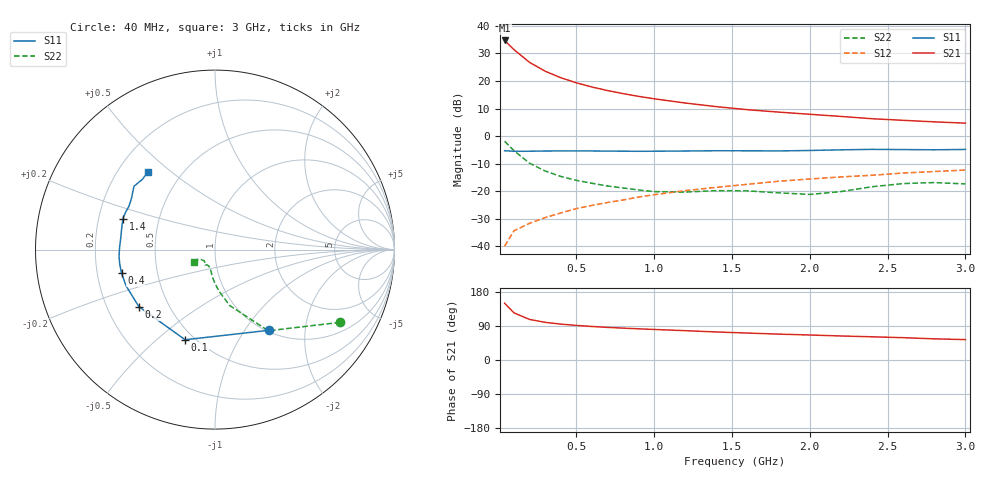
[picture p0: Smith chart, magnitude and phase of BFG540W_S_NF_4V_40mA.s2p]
! Filename:  BFG540WE.S2P  Version:  4.0
! Philips part #: BFG540  Date: Jun 1994
! Bias condition: Vce=4.0V, Ic=40.0mA
! IN LINE PINNING: same data as with cross emitter pinning.
#  MHz  S  MA  R  50
! Freq  S11  S21  S12  S22  !GUM [dB]
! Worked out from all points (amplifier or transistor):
!   21 points, 40 MHz to 3 GHz, reference 50 ohm
!   highest |S21| = 34.7 dB at 40 MHz (marker M1)
!   |S21| within 3 dB of that: start of sweep to 94.05 MHz
!   unconditionally stable (mu >= 1): 587.3 MHz to end of sweep
!   at 300 MHz: K = 0.83, MSG = 26.6 dB, |S12| = -29.6 dB
!   at 1 GHz: K = 1.08, MAG = 15.7 dB, |S12| = -21.3 dB
!   at 3 GHz: K = 1.06, MAG = 7.0 dB, |S12| = -12.4 dB
!   lowest NFmin = 1.90 dB at 900 MHz
!   S11 on the Smith chart (normalised r, x): 40 MHz: 1.02, -1.30; 100 MHz: 0.45, -0.62; 200 MHz: 0.34, -0.30; 400 MHz: 0.31, -0.11; 1.4 GHz: 0.30, +0.15; 3 GHz: 0.32, +0.41
40  0.541 -56.2  54.48 149.7  0.01 69.5  0.806 -30.2
100  0.529 -108.3  37.13 124.4  0.019 56.9  0.541 -56.7
200  0.53 -143.1  21.81 107.1  0.026 56.5  0.322 -75.3
300  0.535 -157.7  15.09 99.4  0.033 60.0  0.232 -84.6
400  0.537 -165.8  11.49 94.7  0.04 64.0  0.185 -90.5
500  0.537 -171.3  9.28 91.3  0.048 66.6  0.157 -94.6
600  0.536 -175.7  7.792 88.5  0.055 68.8  0.139 -97.6
700  0.533 -179.4  6.715 86.1  0.062 70.3  0.124 -100.1
800  0.531 177.4  5.903 84.1  0.069 71.5  0.114 -102.9
900  0.529 174.2  5.263 82.3  0.078 72.2  0.105 -106.3
1000  0.53 170.9  4.754 80.6  0.086 72.7  0.098 -110.3
1200  0.535 165.7  3.98 77.4  0.102 73.3  0.096 -118.5
1400  0.541 161.6  3.421 74.0  0.117 73.1  0.102 -122.5
1600  0.54 157.7  3.008 71.1  0.133 73.7  0.101 -122.9
1800  0.537 153.1  2.723 68.3  0.151 72.5  0.093 -124.7
2000  0.547 148.1  2.485 66.0  0.166 72.1  0.087 -134.6
2200  0.562 144.4  2.272 63.4  0.181 71.3  0.098 -147.0
2400  0.573 141.9  2.065 61.2  0.194 71.3  0.12 -151.8
2600  0.568 139.5  1.931 58.9  0.213 70.3  0.137 -149.1
2800  0.563 135.9  1.811 55.8  0.227 68.5  0.143 -145.7
3000  0.571 131.1  1.716 53.9  0.241 68.0  0.135 -148.1
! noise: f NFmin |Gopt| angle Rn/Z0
900  1.9  0.351  179  0.11
2000  2.6  0.543  -150  0.17
